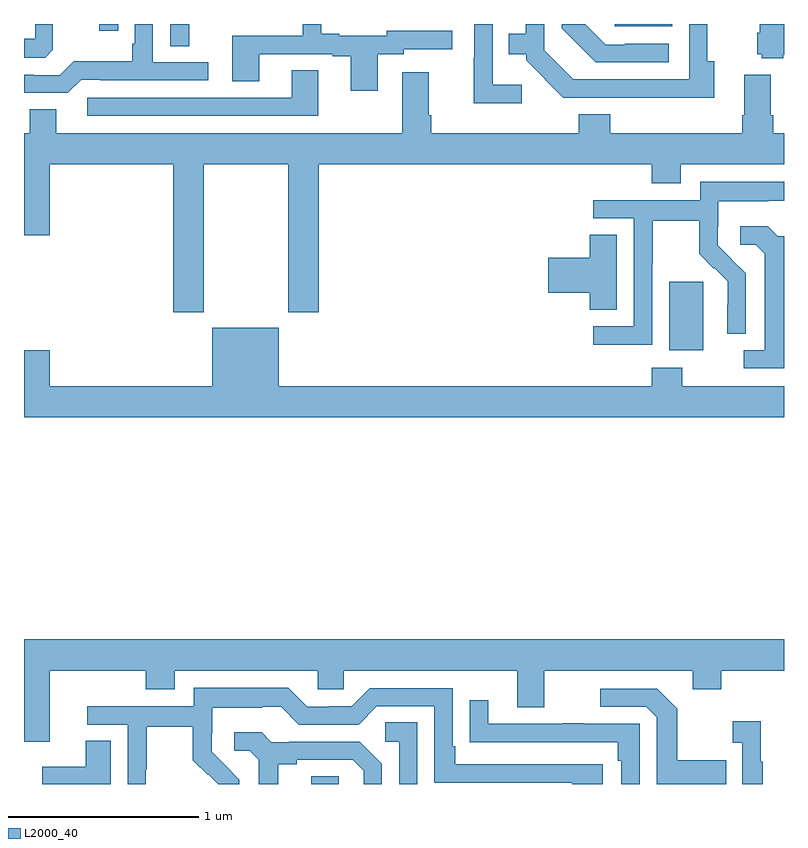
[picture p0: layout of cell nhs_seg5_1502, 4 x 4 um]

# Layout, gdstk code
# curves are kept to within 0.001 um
import gdstk
lib = gdstk.Library(unit=1e-6, precision=1e-09)
def R(c, l, rs):  # rectangles x0, y0, x1, y1
    for r in rs: c.add(gdstk.rectangle(r[:2], r[2:], *l))
def P(c, l, *ps):  # polygons
    for p in ps: c.add(gdstk.Polygon(p, *l))
L2000_40 = (2000, 40)

nhs_seg5_1502 = lib.new_cell('nhs_seg5_1502')
R(nhs_seg5_1502, L2000_40, [(202.511,886.799,202.656,886.841), (204.395,889.082,204.574,889.443), (201.771,890.683,201.87,890.799), (201.396,890.763,201.497,890.799), (204.108,890.787,204.412,890.799)])
P(nhs_seg5_1502, L2000_40, [(204.996,890.636),(205,890.636),(205,890.799),(204.872,890.799),(204.872,890.754),(204.86,890.754),(204.86,890.64),(204.882,890.64),(204.882,890.618),(204.996,890.618)],
  [(203.62,890.479),(203.466,890.479),(203.466,890.799),(203.37,890.799),(203.37,890.621),(203.368,890.621),(203.368,890.381),(203.62,890.381)],
  [(201.3,890.505),(201.4,890.505),(201.4,890.502),(201.97,890.502),(201.97,890.598),(201.678,890.598),(201.678,890.799),(201.582,890.799),(201.582,890.695),(201.57,890.695),(201.57,890.602),(201.262,890.602),(201.189,890.529),(201.05,890.529),(201.05,890.532),(201,890.532),(201,890.436),(201.231,890.436)],
  [(201.152,890.663),(201.152,890.799),(201.058,890.799),(201.058,890.722),(201,890.722),(201,890.622),(201.111,890.622)],
  [(204.394,890.694),(204.163,890.694),(204.163,890.691),(204.063,890.691),(203.955,890.799),(203.829,890.799),(203.829,890.777),(204.008,890.598),(204.394,890.598)],
  [(204.634,890.602),(204.597,890.602),(204.597,890.799),(204.501,890.799),(204.501,890.508),(203.892,890.508),(203.739,890.661),(203.739,890.799),(203.642,890.799),(203.642,890.749),(203.551,890.749),(203.551,890.639),(203.643,890.639),(203.643,890.607),(203.838,890.412),(204.634,890.411)],
  [(202.861,890.64),(202.998,890.64),(202.998,890.667),(203.254,890.667),(203.254,890.763),(202.908,890.763),(202.908,890.736),(202.66,890.736),(202.66,890.749),(202.564,890.749),(202.564,890.799),(202.467,890.799),(202.467,890.736),(202.097,890.736),(202.097,890.497),(202.237,890.497),(202.237,890.64),(202.625,890.64),(202.625,890.628),(202.721,890.628),(202.721,890.448),(202.861,890.448)],
  [(202.549,890.555),(202.409,890.555),(202.409,890.412),(201.333,890.412),(201.333,890.316),(202.549,890.316)],
  [(201.945,890.06),(202.39,890.06),(202.39,889.281),(202.55,889.281),(202.55,890.06),(204.305,890.06),(204.305,889.961),(204.457,889.961),(204.457,890.06),(205,890.06),(205,890.224),(204.944,890.224),(204.944,890.32),(204.931,890.32),(204.931,890.533),(204.791,890.533),(204.791,890.32),(204.779,890.32),(204.779,890.224),(204.086,890.224),(204.086,890.323),(203.921,890.323),(203.921,890.224),(203.144,890.224),(203.144,890.32),(203.131,890.32),(203.131,890.545),(202.991,890.545),(202.991,890.224),(201.169,890.224),(201.169,890.351),(201.03,890.351),(201.03,890.224),(201,890.224),(201,889.686),(201.136,889.686),(201.136,890.06),(201.785,890.06),(201.785,889.281),(201.945,889.281)],
  [(204.306,889.54),(204.309,889.54),(204.309,889.764),(204.553,889.764),(204.553,889.589),(204.63,889.512),(204.633,889.515),(204.704,889.445),(204.704,889.322),(204.702,889.322),(204.702,889.168),(204.798,889.168),(204.798,889.486),(204.652,889.634),(204.652,889.731),(204.654,889.731),(204.654,889.865),(204.917,889.865),(204.917,889.869),(205,889.869),(205,889.969),(204.558,889.969),(204.558,889.872),(203.997,889.872),(203.997,889.776),(204.21,889.776),(204.21,889.209),(203.997,889.209),(203.997,889.111),(204.306,889.111)],
  [(205,889.683),(204.966,889.683),(204.914,889.735),(204.771,889.735),(204.771,889.638),(204.852,889.638),(204.899,889.591),(204.899,889.083),(204.789,889.083),(204.789,888.987),(205,888.987)],
  [(204.121,889.691),(203.978,889.691),(203.978,889.568),(203.76,889.568),(203.76,889.385),(203.978,889.385),(203.978,889.294),(204.121,889.294)],
  [(205,888.892),(204.465,888.892),(204.465,888.991),(204.305,888.991),(204.305,888.892),(202.342,888.892),(202.342,889.201),(201.992,889.201),(201.992,888.892),(201.136,888.892),(201.136,889.081),(201,889.081),(201,888.728),(205,888.728)],
  [(201,887.022),(201.136,887.022),(201.136,887.396),(201.641,887.396),(201.641,887.297),(201.793,887.297),(201.793,887.396),(202.545,887.396),(202.545,887.298),(202.683,887.298),(202.683,887.396),(203.597,887.396),(203.597,887.202),(203.737,887.202),(203.737,887.396),(204.521,887.396),(204.521,887.297),(204.669,887.297),(204.669,887.396),(205,887.396),(205,887.56),(201,887.56)],
  [(201.642,886.876),(201.645,886.876),(201.645,887.1),(201.889,887.1),(201.889,886.925),(201.966,886.848),(201.969,886.851),(202.022,886.799),(202.134,886.799),(202.134,886.822),(201.988,886.97),(201.988,887.067),(201.99,887.067),(201.99,887.201),(202.253,887.201),(202.253,887.205),(202.353,887.205),(202.446,887.112),(202.761,887.112),(202.857,887.208),(203.16,887.208),(203.16,886.806),(203.885,886.806),(203.885,886.799),(204.046,886.799),(204.046,886.902),(203.269,886.902),(203.269,886.999),(203.256,886.999),(203.256,887.304),(202.821,887.304),(202.725,887.208),(202.607,887.208),(202.607,887.205),(202.491,887.205),(202.391,887.305),(201.894,887.305),(201.894,887.208),(201.333,887.208),(201.333,887.112),(201.546,887.112),(201.546,886.799),(201.642,886.799)],
  [(204.695,886.923),(204.439,886.923),(204.439,887.195),(204.333,887.301),(204.033,887.301),(204.033,887.205),(204.276,887.205),(204.33,887.151),(204.33,886.799),(204.695,886.799)],
  [(204.24,887.115),(203.945,887.115),(203.945,887.12),(203.833,887.12),(203.833,887.115),(203.443,887.115),(203.443,887.239),(203.347,887.239),(203.347,887.02),(203.449,887.02),(203.449,887.019),(204.124,887.019),(204.124,886.922),(204.144,886.922),(204.144,886.799),(204.24,886.799)],
  [(204.889,886.915),(204.877,886.915),(204.877,887.128),(204.729,887.128),(204.729,887.015),(204.78,887.015),(204.78,886.799),(204.889,886.799)],
  [(203.07,887.123),(202.902,887.123),(202.902,887.022),(202.974,887.022),(202.974,886.799),(203.07,886.799)],
  [(202.339,886.904),(202.435,886.904),(202.435,886.926),(202.73,886.926),(202.787,886.869),(202.787,886.799),(202.884,886.799),(202.884,886.906),(202.768,887.022),(202.396,887.022),(202.396,887.019),(202.302,887.019),(202.25,887.071),(202.107,887.071),(202.107,886.974),(202.188,886.974),(202.235,886.927),(202.235,886.799),(202.339,886.799)],
  [(201.457,887.027),(201.326,887.027),(201.326,886.891),(201.096,886.891),(201.096,886.799),(201.457,886.799)])

lib.write_gds('nhs_seg5_1502.gds')
